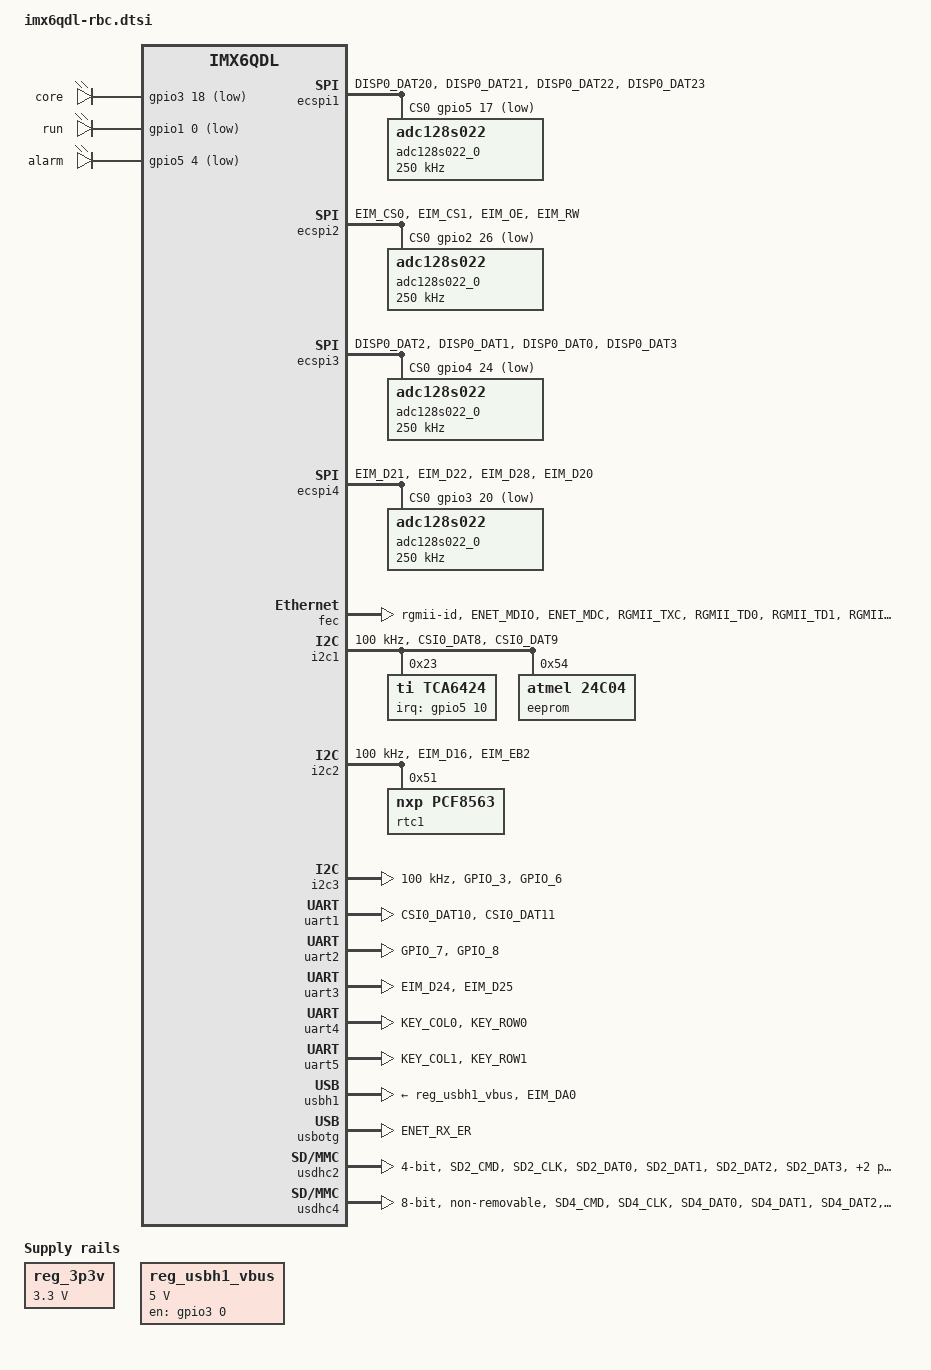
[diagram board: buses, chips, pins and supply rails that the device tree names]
// SPDX-License-Identifier: GPL-2.0-only
/*
 * Copyright 2020 Xbrother, Inc.
 *
 * Author: Feynman Lee <codingmonkey83@gmail.com>
 */

#include <dt-bindings/gpio/gpio.h>
#include <dt-bindings/input/input.h>

/ {
	chosen {
		stdout-path = &uart1;
	};
	regulators {
		compatible = "simple-bus";
		#address-cells = <1>;
		#size-cells = <0>;

		reg_3p3v: regulator@0 {
			compatible = "regulator-fixed";
			reg = <0>;
			regulator-name = "3P3V";
			regulator-min-microvolt = <3300000>;
			regulator-max-microvolt = <3300000>;
			regulator-always-on;
		};

		reg_usbh1_vbus: regulator@1 {
			compatible = "regulator-fixed";
			reg = <1>;
			pinctrl-names = "default";
			regulator-name = "usbh1_vbus";
			regulator-min-microvolt = <5000000>;
			regulator-max-microvolt = <5000000>;
			gpio = <&gpio3 0 GPIO_ACTIVE_HIGH>;
			enable-active-high;
		};

		
	};

	leds {
		compatible = "gpio-leds";
		pinctrl-names = "default";
		pinctrl-0 = <&pinctrl_led>;

		led0: core {
			label = "core";
			gpios = <&gpio3 18 GPIO_ACTIVE_LOW>;
			default-state = "off";
			linux,default-trigger = "heartbeat";
		};

		led1:run {
			label = "run";
			gpios = <&gpio1 0 GPIO_ACTIVE_LOW>;
			default-state = "off";
			linux,default-trigger = "heartbeat";
		};

		led2:alarm {
			label = "alarm";
			gpios = <&gpio5 4 GPIO_ACTIVE_LOW>;
			default-state = "off";
			linux,default-trigger = "none";
		};
	};

};

&ecspi1 {
	cs-gpios = <&gpio5 17 GPIO_ACTIVE_LOW>;
	pinctrl-names = "default";
	pinctrl-0 = <&pinctrl_ecspi1>;
	status = "okay";

	adc128s022_0@0 {
		compatible = "adc128s022", "spidev";
		spi-max-frequency = <250000>;
		reg = <0x0>;
	};
};

&ecspi2 {
	cs-gpios = <&gpio2 26 GPIO_ACTIVE_LOW>;
	pinctrl-names = "default";
	pinctrl-0 = <&pinctrl_ecspi2>;
	status = "okay";

	adc128s022_0@0 {
		compatible = "adc128s022", "spidev";
		spi-max-frequency = <250000>;
		reg = <0x0>;
	};
};

&ecspi3 {
	cs-gpios = <&gpio4 24 GPIO_ACTIVE_LOW>;
	pinctrl-names = "default";
	pinctrl-0 = <&pinctrl_ecspi3>;
	status = "okay";

	adc128s022_0@0 {
		compatible = "adc128s022", "spidev";
		spi-max-frequency = <250000>;
		reg = <0x0>;
	};
};

&ecspi4 {
	cs-gpios = <&gpio3 20 GPIO_ACTIVE_LOW>;
	pinctrl-names = "default";
	pinctrl-0 = <&pinctrl_ecspi4>;
	status = "okay";

	adc128s022_0@0 {
		compatible = "adc128s022", "spidev";
		spi-max-frequency = <250000>;
		reg = <0x0>;
	};
};

&fec {
	pinctrl-names = "default";
	pinctrl-0 = <&pinctrl_enet>;
	phy-mode = "rgmii-id";
	// phy-handle = <&phy>;
	fsl,magic-packet;
	status = "okay";

	// mdio {
	// 	#address-cells = <1>;
	// 	#size-cells = <0>;

	// 	phy: ethernet-phy@1 {
	// 		reg = <1>;
	// 		qca,clk-out-frequency = <125000000>;
	// 		reset-gpios = <&gpio1 25 GPIO_ACTIVE_LOW>;
	// 		reset-assert-us = <10000>;
	// 	};
	// };
};


&i2c1 {
	clock-frequency = <100000>;
	pinctrl-names = "default";
	pinctrl-0 = <&pinctrl_i2c1>;
	status = "okay";
	
	tca6424: gpio-expander@23 {
		compatible = "ti,tca6424";
		reg = <0x23>;
		gpio-controller;
		#gpio-cells = <2>;
		pinctrl-names = "default";
		pinctrl-0 = <&pinctrl_tca6424>;
		interrupt-parent = <&gpio5>;
		interrupts = <10 IRQ_TYPE_LEVEL_LOW>;
		interrupt-controller;
		#interrupt-cells = <2>;
	};

	eeprom@54 {
		compatible = "atmel,24c04";
		reg = <0x54>;
	};
};

&i2c2 {
	clock-frequency = <100000>;
	pinctrl-names = "default";
	pinctrl-0 = <&pinctrl_i2c2>;
	status = "okay";
	rtc1:pcf8563@51 {
		compatible = "nxp,pcf8563";
		reg = <0x51>;
	};
};

&i2c3 {
	clock-frequency = <100000>;
	pinctrl-names = "default";
	pinctrl-0 = <&pinctrl_i2c3>;
	status = "okay";
};

&iomuxc {
	pinctrl-names = "default";
	pinctrl-0 = <&pinctrl_hog>;

	imx6qdl-rex {
		pinctrl_hog: hoggrp {
			fsl,pins = <
				
				

				// MX6QDL_PAD_NANDF_D0__GPIO2_IO00 0x1b0b0
				// MX6QDL_PAD_NANDF_D1__GPIO2_IO01 0x1b0b0
				// MX6QDL_PAD_NANDF_D2__GPIO2_IO02 0x1b0b0
				// MX6QDL_PAD_NANDF_D3__GPIO2_IO03 0x1b0b0
				// MX6QDL_PAD_GPIO_0__CCM_CLKO1    0x130b0
				// MX6QDL_PAD_NANDF_CLE__GPIO6_IO07 0x1b0b0
				// MX6QDL_PAD_ENET_TXD1__GPIO1_IO29 0x1b0b0
				// MX6QDL_PAD_EIM_D22__GPIO3_IO22  0x1b0b0
				// MX6QDL_PAD_ENET_CRS_DV__GPIO1_IO25 0x1b0b0
			>;
		};

		// pinctrl_audmux: audmuxgrp {
		// 	fsl,pins = <
		// 		MX6QDL_PAD_CSI0_DAT7__AUD3_RXD		0x130b0
		// 		MX6QDL_PAD_CSI0_DAT4__AUD3_TXC		0x130b0
		// 		MX6QDL_PAD_CSI0_DAT5__AUD3_TXD		0x110b0
		// 		MX6QDL_PAD_CSI0_DAT6__AUD3_TXFS		0x130b0
		// 	>;
		// };

		pinctrl_ecspi1: ecspi1grp {
			fsl,pins = <
				MX6QDL_PAD_DISP0_DAT20__ECSPI1_SCLK 0x100b1 
				MX6QDL_PAD_DISP0_DAT21__ECSPI1_MOSI 0x100b1 
				MX6QDL_PAD_DISP0_DAT22__ECSPI1_MISO 0x100b1
				/* CS */
				MX6QDL_PAD_DISP0_DAT23__GPIO5_IO17 0x80000000
			>;
		};
		
		pinctrl_ecspi2: ecspi2grp {
			fsl,pins = <
				MX6QDL_PAD_EIM_CS0__ECSPI2_SCLK	0x100b1 
				MX6QDL_PAD_EIM_CS1__ECSPI2_MOSI	0x100b1 
				MX6QDL_PAD_EIM_OE__ECSPI2_MISO	0x100b1
				/* CS */
				MX6QDL_PAD_EIM_RW__GPIO2_IO26	0x000b1
			>;
		};

		pinctrl_ecspi3: ecspi3grp {
			fsl,pins = <
				MX6QDL_PAD_DISP0_DAT2__ECSPI3_MISO 0x100b1 
                MX6QDL_PAD_DISP0_DAT1__ECSPI3_MOSI 0x100b1 
                MX6QDL_PAD_DISP0_DAT0__ECSPI3_SCLK 0x100b1
				/* CS */
				MX6QDL_PAD_DISP0_DAT3__GPIO4_IO24 0x80000000
			>;
		};

		pinctrl_ecspi4: ecspi4grp {
			fsl,pins = <
				MX6QDL_PAD_EIM_D21__ECSPI4_SCLK 0x100b1 
                MX6QDL_PAD_EIM_D22__ECSPI4_MISO 0x100b1 
                MX6QDL_PAD_EIM_D28__ECSPI4_MOSI 0x100b1
				/* CS */
				MX6QDL_PAD_EIM_D20__GPIO3_IO20 0x80000000
			>;
		};

		pinctrl_enet: enetgrp {
			fsl,pins = <
				MX6QDL_PAD_ENET_MDIO__ENET_MDIO		0x1b0b0
				MX6QDL_PAD_ENET_MDC__ENET_MDC		0x1b0b0
				MX6QDL_PAD_RGMII_TXC__RGMII_TXC		0x1b030
				MX6QDL_PAD_RGMII_TD0__RGMII_TD0		0x1b030
				MX6QDL_PAD_RGMII_TD1__RGMII_TD1		0x1b030
				MX6QDL_PAD_RGMII_TD2__RGMII_TD2		0x1b030
				MX6QDL_PAD_RGMII_TD3__RGMII_TD3		0x1b030
				MX6QDL_PAD_RGMII_TX_CTL__RGMII_TX_CTL	0x1b030
				MX6QDL_PAD_ENET_REF_CLK__ENET_TX_CLK	0x1b0b0
				MX6QDL_PAD_RGMII_RXC__RGMII_RXC		0x1b030
				MX6QDL_PAD_RGMII_RD0__RGMII_RD0		0x1b030
				MX6QDL_PAD_RGMII_RD1__RGMII_RD1		0x1b030
				MX6QDL_PAD_RGMII_RD2__RGMII_RD2		0x1b030
				MX6QDL_PAD_RGMII_RD3__RGMII_RD3		0x1b030
				MX6QDL_PAD_RGMII_RX_CTL__RGMII_RX_CTL	0x1b030
				
			>;
		};

		pinctrl_i2c1: i2c1grp {
			fsl,pins = <
				MX6QDL_PAD_CSI0_DAT8__I2C1_SDA		0x4001b8b1
				MX6QDL_PAD_CSI0_DAT9__I2C1_SCL		0x4001b8b1
			>;
		};

		pinctrl_i2c2: i2c2grp {
			fsl,pins = <
				MX6QDL_PAD_EIM_D16__I2C2_SDA 0x4001b8b1 
				MX6QDL_PAD_EIM_EB2__I2C2_SCL 0x4001b8b1
			>;
		};

		pinctrl_i2c3: i2c3grp {
			fsl,pins = <
				MX6QDL_PAD_GPIO_3__I2C3_SCL 0x4001b8b1 
				MX6QDL_PAD_GPIO_6__I2C3_SDA 0x4001b8b1
			>;
		};

		pinctrl_led: ledgrp {
			fsl,pins = <
				/* run led */
				MX6QDL_PAD_GPIO_0__GPIO1_IO00 0x80000000
				/* alarm led */
				MX6QDL_PAD_EIM_A24__GPIO5_IO04 0x80000000 
				/* core led */
				MX6QDL_PAD_EIM_D18__GPIO3_IO18 0x80000000
			>;
		};

		pinctrl_tca6424: tca6424grp {
			fsl,pins = <
				MX6QDL_PAD_DISP0_DAT16__GPIO5_IO10	0x17059
		   >;
		};

		pinctrl_uart1: uart1grp {
			fsl,pins = <
				MX6QDL_PAD_CSI0_DAT10__UART1_TX_DATA	0x1b0b1
				MX6QDL_PAD_CSI0_DAT11__UART1_RX_DATA	0x1b0b1
			>;
		};

		pinctrl_uart2: uart2grp {
			fsl,pins = <
				MX6QDL_PAD_GPIO_7__UART2_TX_DATA 	0x1b0b1 
				MX6QDL_PAD_GPIO_8__UART2_RX_DATA 	0x1b0b1 
			>;
		};
		pinctrl_uart2_rts: uart2grp_rts {
			fsl,pins = <
				MX6QDL_PAD_CSI0_DAT12__GPIO5_IO30 	0x4001b0b1
			>;
		};

		pinctrl_uart3: uart3grp {
			fsl,pins = <
				MX6QDL_PAD_EIM_D24__UART3_TX_DATA 	0x1b0b1 
				MX6QDL_PAD_EIM_D25__UART3_RX_DATA 	0x1b0b1 
				
			>;
		};
		pinctrl_uart3_rts: uart3grp_rts {
			fsl,pins = <
				MX6QDL_PAD_CSI0_DAT13__GPIO5_IO31 	0x4001b0b1
			>;
		};
		
		pinctrl_uart4: uart4grp {
			fsl,pins = <
				MX6QDL_PAD_KEY_COL0__UART4_TX_DATA 	0x1b0b1 
				MX6QDL_PAD_KEY_ROW0__UART4_RX_DATA 	0x1b0b1 
			>;
		};
		pinctrl_uart4_rts: uart4grp_rts {
			fsl,pins = <
				MX6QDL_PAD_CSI0_DAT14__GPIO6_IO00 	0x4001b0b1
			>;
		};

		pinctrl_uart5: uart5grp {
			fsl,pins = <
				MX6QDL_PAD_KEY_COL1__UART5_TX_DATA 	0x1b0b1 
				MX6QDL_PAD_KEY_ROW1__UART5_RX_DATA 	0x1b0b1 
			>;
		};
		pinctrl_uart5_rts: uart5grp_rts {
			fsl,pins = <
				MX6QDL_PAD_CSI0_DAT15__GPIO6_IO01 	0x4001b0b1
			>;
		};


		pinctrl_usbh1: usbh1grp {
			fsl,pins = <
				/* power enable, high active */
				MX6QDL_PAD_EIM_DA0__GPIO3_IO00		0x10b0
			>;
		};

		pinctrl_usbotg: usbotggrp {
			fsl,pins = <
				MX6QDL_PAD_ENET_RX_ER__USB_OTG_ID	0x17059
			>;
		};

		pinctrl_usdhc2: usdhc2grp {
			fsl,pins = <
				MX6QDL_PAD_SD2_CMD__SD2_CMD		0x17059
				MX6QDL_PAD_SD2_CLK__SD2_CLK		0x10059
				MX6QDL_PAD_SD2_DAT0__SD2_DATA0		0x17059
				MX6QDL_PAD_SD2_DAT1__SD2_DATA1		0x17059
				MX6QDL_PAD_SD2_DAT2__SD2_DATA2		0x17059
				MX6QDL_PAD_SD2_DAT3__SD2_DATA3		0x17059
				/* CD */
				MX6QDL_PAD_GPIO_4__GPIO1_IO04		0x1b0b0
			>;
		};

		pinctrl_usdhc4: usdhc4grp {
			fsl,pins = <
				MX6QDL_PAD_SD4_CMD__SD4_CMD 0x17059 
				MX6QDL_PAD_SD4_CLK__SD4_CLK 0x10059 
				MX6QDL_PAD_SD4_DAT0__SD4_DATA0 0x17059 
				MX6QDL_PAD_SD4_DAT1__SD4_DATA1 0x17059 
				MX6QDL_PAD_SD4_DAT2__SD4_DATA2 0x17059 
				MX6QDL_PAD_SD4_DAT3__SD4_DATA3 0x17059 
				MX6QDL_PAD_SD4_DAT4__SD4_DATA4 0x17059 
				MX6QDL_PAD_SD4_DAT5__SD4_DATA5 0x17059 
				MX6QDL_PAD_SD4_DAT6__SD4_DATA6 0x17059 
				MX6QDL_PAD_SD4_DAT7__SD4_DATA7 0x17059
			>;
		};
	};
};


&uart1 {
	pinctrl-names = "default";
	pinctrl-0 = <&pinctrl_uart1>;
	status = "okay";
};

&uart2 {
	pinctrl-names = "default";
	pinctrl-0 = <&pinctrl_uart2>;
	status = "okay";
	
};

&uart3 {
	pinctrl-names = "default";
	pinctrl-0 = <&pinctrl_uart3>;
	status = "okay";
};

&uart4 {
	pinctrl-names = "default";
	pinctrl-0 = <&pinctrl_uart4>;
	status = "okay";
};

&uart5 {
	pinctrl-names = "default";
	pinctrl-0 = <&pinctrl_uart5>;
	status = "okay";
};

&usbh1 {
	vbus-supply = <&reg_usbh1_vbus>;
	pinctrl-names = "default";
	pinctrl-0 = <&pinctrl_usbh1>;
	status = "okay";
};

&usbotg {
	// vbus-supply = <&reg_usb_otg_vbus>;
	pinctrl-names = "default";
	pinctrl-0 = <&pinctrl_usbotg>;
	status = "okay";
};

&usdhc2 {
	pinctrl-names = "default";
	pinctrl-0 = <&pinctrl_usdhc2>;
	bus-width = <4>;
	cd-gpios = <&gpio1 4 GPIO_ACTIVE_LOW>;
	status = "okay";
};

&usdhc4 {
	pinctrl-names = "default";
	pinctrl-0 = <&pinctrl_usdhc4>;
	bus-width = <8>;
	status = "okay";
	non-removable;
	no-1-8-v;
	keep-power-in-suspend;
};


